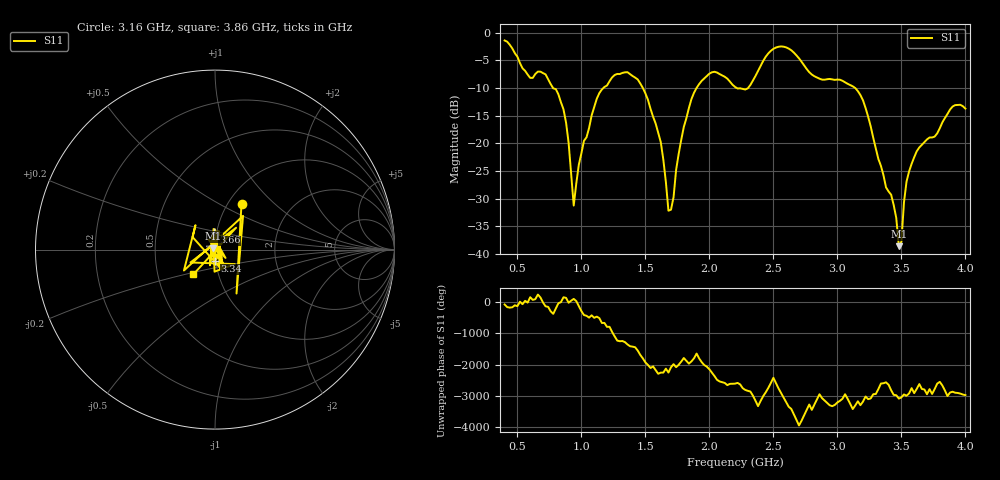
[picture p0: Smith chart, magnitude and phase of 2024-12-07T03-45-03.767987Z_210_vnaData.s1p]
!Created with skrf (http://scikit-rf.org).
# Hz S RI R 50.0
!freq ReS11 ImS11
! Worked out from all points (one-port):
!   181 points, 400 MHz to 4 GHz, reference 50 ohm
!   lowest |S11| = -38.6 dB at 3.48 GHz (marker M1), VSWR 1.02, Z = 49 + j0.625 ohm
!   |S11| at or under -10 dB: 778.2 MHz to 1.172 GHz (393.6 MHz wide, 40.4 % of centre); 1.48 GHz to 1.9 GHz (419.6 MHz wide, 24.8 % of centre); 3.139 GHz to end of sweep (the widest 3 of 4)
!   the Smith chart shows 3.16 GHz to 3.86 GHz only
!   S11 on the Smith chart (normalised r, x): 3.16 GHz: 1.15, +0.65; 3.34 GHz: 0.99, -0.12; 3.66 GHz: 0.97, +0.19; 3.86 GHz: 0.76, -0.22
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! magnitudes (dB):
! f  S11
! 400 MHz  -1.4
! 860 MHz  -13.9
! 900 MHz  -19.9
! 940 MHz  -31.2
! 1.02 GHz  -19.6
! 1.12 GHz  -12.0
! 1.3 GHz  -7.5
! 1.52 GHz  -12.2
! 1.62 GHz  -19.8
! 1.68 GHz  -32.2
! 1.72 GHz  -29.7
! 1.76 GHz  -21.9
! 1.86 GHz  -12.0
! 1.94 GHz  -8.7
! 2.2 GHz  -9.8
! 2.5 GHz  -2.9
! 2.66 GHz  -3.6
! 3.1 GHz  -9.5
! 3.16 GHz  -10.6
! 3.34 GHz  -24.1
! 3.44 GHz  -31.2
! 3.48 GHz  -38.6
! 3.5 GHz  -37.8
! 3.52 GHz  -30.7
! 3.56 GHz  -25.1
! 3.66 GHz  -20.3
! 3.86 GHz  -14.7
! 4 GHz  -13.7
